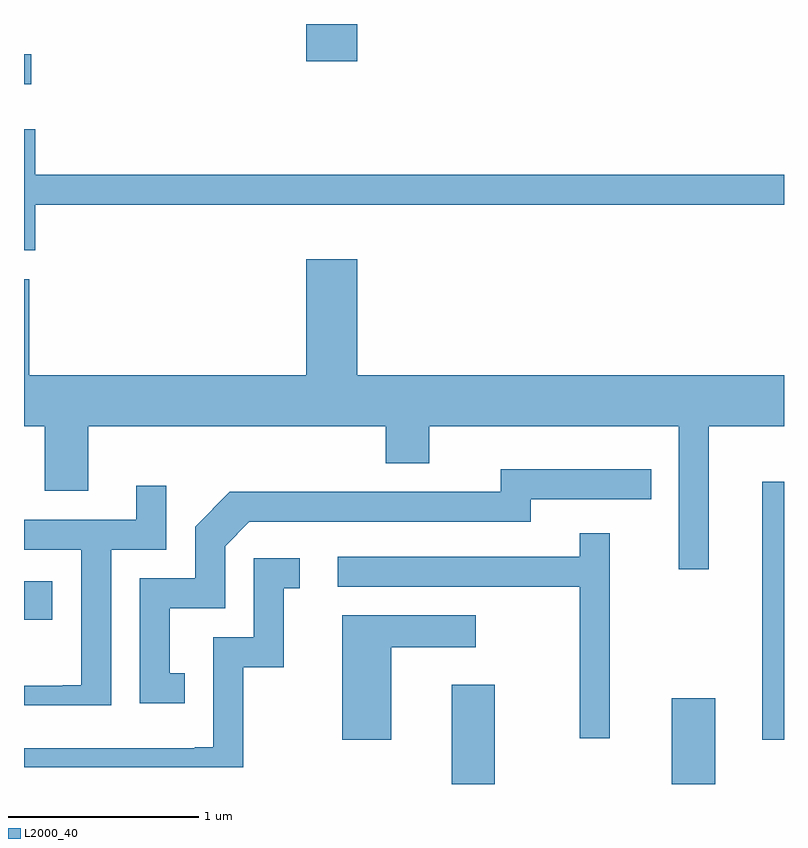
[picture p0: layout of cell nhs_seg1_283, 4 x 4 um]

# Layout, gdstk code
import gdstk
lib = gdstk.Library(unit=1e-6, precision=1e-09)
def R(c, l, rs):  # rectangles x0, y0, x1, y1
    for r in rs: c.add(gdstk.rectangle(r[:2], r[2:], *l))
def P(c, l, *ps):  # polygons
    for p in ps: c.add(gdstk.Polygon(p, *l))
L2000_40 = (2000, 40)

nhs_seg1_283 = lib.new_cell('nhs_seg1_283')
R(nhs_seg1_283, L2000_40, [(195.861,877.712,196.089,878.234), (197.021,877.712,197.249,878.164), (197.496,877.946,197.611,879.304), (193.611,878.576,193.759,878.779), (193.611,881.396,193.648,881.554), (195.096,881.516,195.364,881.712)])
P(nhs_seg1_283, L2000_40, [(193.669,880.761),(197.611,880.761),(197.611,880.919),(193.669,880.919),(193.669,881.159),(193.611,881.159),(193.611,880.521),(193.669,880.521)],
  [(197.214,879.596),(197.611,879.596),(197.611,879.864),(195.364,879.864),(195.364,880.474),(195.096,880.474),(195.096,879.864),(193.639,879.864),(193.639,880.369),(193.611,880.369),(193.611,879.596),(193.721,879.596),(193.721,879.256),(193.949,879.256),(193.949,879.596),(195.516,879.596),(195.516,879.401),(195.744,879.401),(195.744,879.596),(197.056,879.596),(197.056,878.843),(197.214,878.843)],
  [(194.458,878.294),(194.379,878.294),(194.379,878.636),(194.669,878.636),(194.669,878.964),(194.797,879.091),(196.279,879.091),(196.279,879.211),(196.913,879.211),(196.913,879.369),(196.121,879.369),(196.121,879.249),(194.694,879.249),(194.511,879.067),(194.511,878.794),(194.221,878.794),(194.221,878.136),(194.458,878.136)],
  [(194.069,878.946),(194.359,878.946),(194.359,879.283),(194.201,879.283),(194.201,879.104),(193.611,879.104),(193.611,878.946),(193.911,878.946),(193.911,878.232),(193.815,878.232),(193.815,878.229),(193.611,878.229),(193.611,878.127),(194.069,878.127)],
  [(196.694,879.033),(196.536,879.033),(196.536,878.909),(195.263,878.909),(195.263,878.751),(196.536,878.751),(196.536,877.953),(196.694,877.953)],
  [(194.764,878.326),(194.979,878.326),(194.979,878.741),(195.063,878.741),(195.063,878.899),(194.821,878.899),(194.821,878.484),(194.606,878.484),(194.606,877.906),(194.51,877.906),(194.51,877.901),(193.611,877.901),(193.611,877.801),(194.764,877.801)],
  [(195.544,878.431),(195.988,878.431),(195.988,878.599),(195.286,878.599),(195.286,877.946),(195.544,877.946)])

lib.write_gds('nhs_seg1_283.gds')
